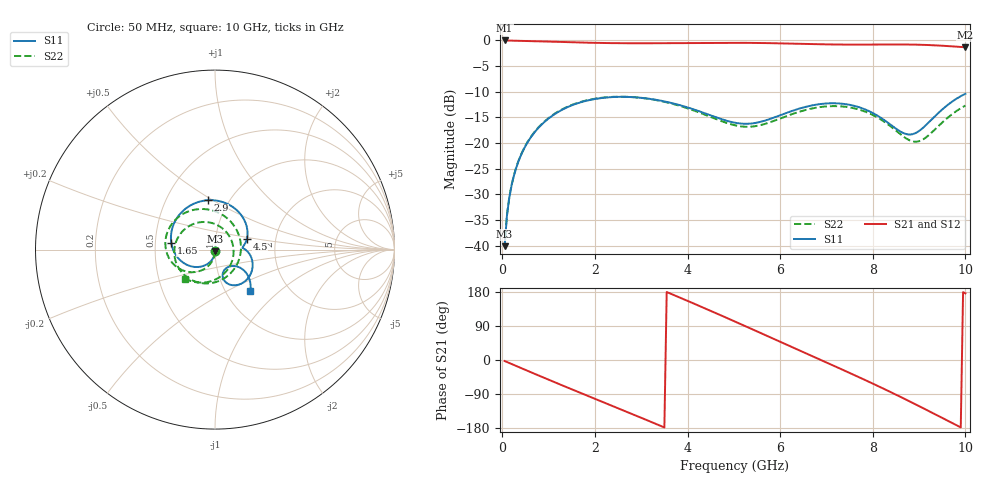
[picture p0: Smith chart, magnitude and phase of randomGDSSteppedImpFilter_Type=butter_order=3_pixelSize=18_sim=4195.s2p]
! freq	dB(S11)	phase(S11)	dB(S12)	phase(S12)
!  dB(S21)	phase(S21)	dB(S22)	phase(S22)
!S-par simulation data
#  GHz  S  DB  R 50
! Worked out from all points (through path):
!   200 points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, 50 MHz to 10 GHz, reference 50 ohm
!   highest |S21| = -0.02 dB at 50 MHz (marker M1); lowest = -1.3 dB at 10 GHz (marker M2)
!   group delay of S21, straight-line fit = 149 ps
!   lowest |S11| = -40.1 dB at 50 MHz (marker M3), VSWR 1.02, Z = 50.1 - j0.985 ohm
!   |S11| at or under -10 dB: start of sweep to end of sweep
!   |S22| runs from -40.1 to -11.0 dB; largest |S21 - S12| = 0
!   S11 on the Smith chart (normalised r, x): 50 MHz: 1.00, -0.02; 1.65 GHz: 0.61, +0.05; 2.9 GHz: 0.80, +0.48; 4.5 GHz: 1.42, +0.17; 10 GHz: 1.30, -0.66
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0.05  -40.12 -85.9  -0.02 -2.7  -0.02 -2.7  -40.09 -85.2
0.1  -34.19 -90.8  -0.03 -5.3  -0.03 -5.3  -34.14 -89.3
0.2  -28.28 -98.7  -0.04 -10.5  -0.04 -10.5  -28.22 -95.6
0.45  -21.47 -115.6  -0.09 -23.6  -0.09 -23.6  -21.38 -108.7
1.05  -14.88 -152.6  -0.24 -54.5  -0.24 -54.5  -14.79 -136.3
1.65  -12.19 171.7  -0.41 -84.9  -0.41 -84.9  -12.12 -162.1
1.75  -11.93 165.8  -0.43 -89.9  -0.43 -89.9  -11.86 -166.3
2.3  -11.10 133.4  -0.53 -117.4  -0.53 -117.4  -11.05 170.8
2.9  -11.12 98.2  -0.56 -147.5  -0.56 -147.5  -11.12 145.6
3.4  -11.72 69.7  -0.55 -172.9  -0.55 -172.9  -11.78 123.4
3.95  -12.93 40.8  -0.51 158.7  -0.51 158.7  -13.10 95.8
4.5  -14.62 17.9  -0.48 129.7  -0.48 129.7  -14.93 61.2
5.05  -16.10 5.9  -0.47 100.1  -0.47 100.1  -16.61 14.4
5.8  -15.26 -0.9  -0.54 59.1  -0.54 59.1  -15.91 -61.0
6.25  -13.78 -11.4  -0.63 34.5  -0.63 34.5  -14.40 -99.6
6.7  -12.66 -26.4  -0.73 9.9  -0.73 9.9  -13.25 -133.2
7.45  -12.48 -54.3  -0.82 -31.3  -0.82 -31.3  -13.00 173.8
8.35  -16.20 -74.0  -0.80 -82.5  -0.80 -82.5  -16.52 96.7
8.75  -18.32 -59.8  -0.80 -106.4  -0.80 -106.4  -19.27 41.3
9.05  -17.31 -42.0  -0.86 -124.8  -0.86 -124.8  -19.48 -13.9
9.55  -13.08 -37.2  -1.07 -155.9  -1.07 -155.9  -15.61 -88.5
10  -10.41 -49.3  -1.34 175.9  -1.34 175.9  -12.71 -135.2
